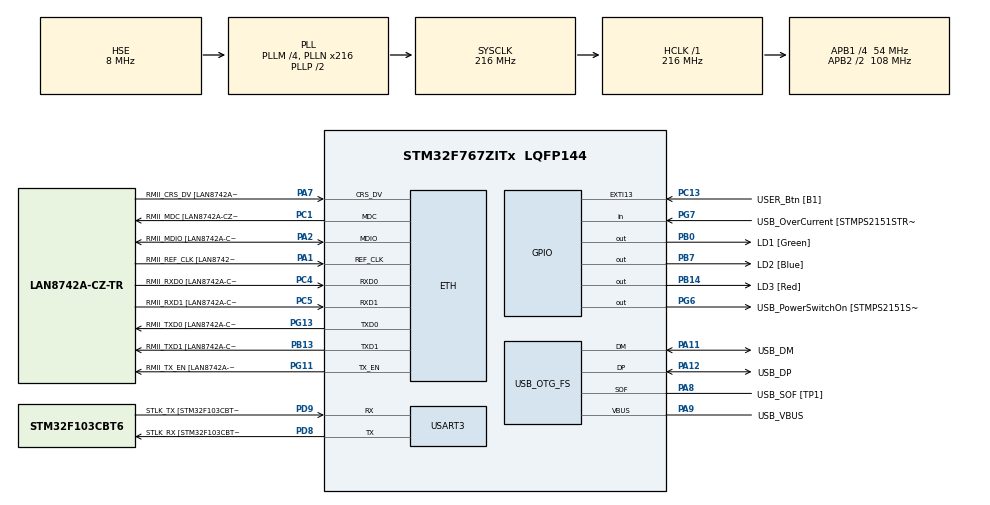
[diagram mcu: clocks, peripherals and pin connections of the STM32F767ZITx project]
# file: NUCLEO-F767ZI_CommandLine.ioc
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Dma.Request0=USART3_RX
Dma.USART3_RX.0.Direction=DMA_PERIPH_TO_MEMORY
Dma.USART3_RX.0.FIFOMode=DMA_FIFOMODE_DISABLE
Dma.USART3_RX.0.Instance=DMA1_Stream1
Dma.USART3_RX.0.MemDataAlignment=DMA_MDATAALIGN_BYTE
Dma.USART3_RX.0.MemInc=DMA_MINC_ENABLE
Dma.USART3_RX.0.Mode=DMA_CIRCULAR
Dma.USART3_RX.0.PeriphDataAlignment=DMA_PDATAALIGN_BYTE
Dma.USART3_RX.0.PeriphInc=DMA_PINC_DISABLE
Dma.USART3_RX.0.Priority=DMA_PRIORITY_LOW
ETH.MediaInterface=HAL_ETH_RMII_MODE
ETH.PHY_Name=LAN8742A_PHY_ADDRESS
ETH.PHY_Value=0
ETH.PhyAddress=0
FREERTOS.Tasks01=defaultTask,0,256,StartDefaultTask,Default,NULL,Dynamic,NULL,NULL
FREERTOS.configGENERATE_RUN_TIME_STATS=1
FREERTOS.configMINIMAL_STACK_SIZE=128
FREERTOS.configUSE_NEWLIB_REENTRANT=1
FREERTOS.configUSE_STATS_FORMATTING_FUNCTIONS=1
FREERTOS.configUSE_TRACE_FACILITY=1
Mcu.Family=STM32F7
Mcu.Name=STM32F767ZITx
Mcu.Package=LQFP144
NVIC.DMA1_Stream1_IRQn=true\:5\:0\:false\:false\:true\:true\:false\:true\:true
NVIC.PriorityGroup=NVIC_PRIORITYGROUP_4
NVIC.TIM8_TRG_COM_TIM14_IRQn=true\:15\:0\:false\:false\:true\:false\:false\:true\:true
NVIC.TimeBase=TIM8_TRG_COM_TIM14_IRQn
NVIC.TimeBaseIP=TIM14
PA1.GPIO_Label=RMII_REF_CLK [LAN8742A-CZ-TR_REFCLK0]
PA1.Mode=RMII
PA1.Signal=ETH_REF_CLK
PA10.GPIO_Label=USB_ID
PA10.Signal=USB_OTG_FS_ID
PA11.GPIO_Label=USB_DM
PA11.Mode=Device_Only
PA11.Signal=USB_OTG_FS_DM
PA12.GPIO_Label=USB_DP
PA12.Mode=Device_Only
PA12.Signal=USB_OTG_FS_DP
PA13.GPIO_Label=TMS
PA13.Mode=Serial_Wire
PA13.Signal=SYS_JTMS-SWDIO
PA14.GPIO_Label=TCK
PA14.Mode=Serial_Wire
PA14.Signal=SYS_JTCK-SWCLK
PA2.GPIO_Label=RMII_MDIO [LAN8742A-CZ-TR_MDIO]
PA2.Mode=RMII
PA2.Signal=ETH_MDIO
PA7.GPIO_Label=RMII_CRS_DV [LAN8742A-CZ-TR_CRS_DV]
PA7.Mode=RMII
PA7.Signal=ETH_CRS_DV
PA8.GPIO_Label=USB_SOF [TP1]
PA8.Mode=Activate_SOF_FS
PA8.Signal=USB_OTG_FS_SOF
PA9.GPIO_Label=USB_VBUS
PA9.Mode=Activate_VBUS
PA9.Signal=USB_OTG_FS_VBUS
PB0.GPIO_Label=LD1 [Green]
PB0.Signal=GPIO_Output
PB13.GPIO_Label=RMII_TXD1 [LAN8742A-CZ-TR_TXD1]
PB13.Mode=RMII
PB13.Signal=ETH_TXD1
PB14.GPIO_Label=LD3 [Red]
PB14.Signal=GPIO_Output
PB3.GPIO_Label=SWO
PB3.Signal=SYS_JTDO-SWO
PB7.GPIO_Label=LD2 [Blue]
PB7.Signal=GPIO_Output
PC1.GPIO_Label=RMII_MDC [LAN8742A-CZ-TR_MDC]
PC1.Mode=RMII
PC1.Signal=ETH_MDC
PC13.GPIO_Label=USER_Btn [B1]
PC13.Signal=GPXTI13
PC14/OSC32_IN.Mode=LSE-External-Oscillator
PC14/OSC32_IN.Signal=RCC_OSC32_IN
PC15/OSC32_OUT.Mode=LSE-External-Oscillator
PC15/OSC32_OUT.Signal=RCC_OSC32_OUT
PC4.GPIO_Label=RMII_RXD0 [LAN8742A-CZ-TR_RXD0]
PC4.Mode=RMII
PC4.Signal=ETH_RXD0
PC5.GPIO_Label=RMII_RXD1 [LAN8742A-CZ-TR_RXD1]
PC5.Mode=RMII
PC5.Signal=ETH_RXD1
PD8.GPIO_Label=STLK_RX [STM32F103CBT6_PA3]
PD8.Mode=Asynchronous
PD8.Signal=USART3_TX
PD9.GPIO_Label=STLK_TX [STM32F103CBT6_PA2]
PD9.Mode=Asynchronous
PD9.Signal=USART3_RX
PG11.GPIO_Label=RMII_TX_EN [LAN8742A-CZ-TR_TXEN]
PG11.Mode=RMII
PG11.Signal=ETH_TX_EN
PG13.GPIO_Label=RMII_TXD0 [LAN8742A-CZ-TR_TXD0]
PG13.Mode=RMII
PG13.Signal=ETH_TXD0
PG6.GPIO_Label=USB_PowerSwitchOn [STMPS2151STR_EN]
PG6.Signal=GPIO_Output
PG7.GPIO_Label=USB_OverCurrent [STMPS2151STR_FAULT]
PG7.Signal=GPIO_Input
PH0/OSC_IN.GPIO_Label=MCO [STM32F103CBT6_PA8]
PH0/OSC_IN.Mode=HSE-External-Clock-Source
PH0/OSC_IN.Signal=RCC_OSC_IN
PH1/OSC_OUT.Mode=HSE-External-Clock-Source
PH1/OSC_OUT.Signal=RCC_OSC_OUT
ProjectManager.HeapSize=0x800
ProjectManager.StackSize=0x800
ProjectManager.TargetToolchain=STM32CubeIDE
RCC.48MHZClocksFreq_Value=24000000
RCC.AHBFreq_Value=216000000
RCC.APB1CLKDivider=RCC_HCLK_DIV4
RCC.APB1Freq_Value=54000000
RCC.APB1TimFreq_Value=108000000
RCC.APB2CLKDivider=RCC_HCLK_DIV2
RCC.APB2Freq_Value=108000000
RCC.APB2TimFreq_Value=216000000
RCC.CortexFreq_Value=216000000
RCC.HCLKFreq_Value=216000000
RCC.HSE_VALUE=8000000
RCC.HSI_VALUE=16000000
RCC.PLLM=4
RCC.PLLMUL=RCC_PLL_MUL9
RCC.PLLN=216
RCC.PLLQ=9
RCC.PRESCALERUSB=RCC_USBCLKSOURCE_PLL_DIV1_5
RCC.SYSCLKFreq_VALUE=216000000
RCC.SYSCLKSource=RCC_SYSCLKSOURCE_PLLCLK
RCC.SYSCLKSourceVirtual=RCC_SYSCLKSOURCE_PLLCLK
RCC.USBFreq_Value=48000000
RCC.VCOOutputFreq_Value=432000000
TIM5.Prescaler=108-1
USART3.VirtualMode-Asynchronous=VM_ASYNC
USB_OTG_FS.VirtualMode=Device_Only
VP_FREERTOS_VS_CMSIS_V1.Mode=CMSIS_V1
VP_SYS_VS_tim14.Mode=TIM14
VP_TIM5_VS_ClockSourceINT.Mode=Internal
board=NUCLEO-F767ZI

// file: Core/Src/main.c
/* USER CODE BEGIN Header */
/**
  ******************************************************************************
  * @file           : main.c
  * @brief          : Main program body
  ******************************************************************************
  * @attention
  *
  * Copyright (c) 2025 STMicroelectronics.
  * All rights reserved.
  *
  * This software is licensed under terms that can be found in the LICENSE file
  * in the root directory of this software component.
  * If no LICENSE file comes with this software, it is provided AS-IS.
  *
  ******************************************************************************
  */
/* USER CODE END Header */
#include "main.h"
#include "string.h"
#include "cmsis_os.h"

/* USER CODE BEGIN Includes */
#include "command_line.h"
#include "FreeRTOSConfig.h" // getRunTimeCounterValue() and configureTimerForRunTimeStats()

/* USER CODE END Includes */

#if defined ( __ICCARM__ ) /*!< IAR Compiler */
#pragma location=0x2007c000
ETH_DMADescTypeDef  DMARxDscrTab[ETH_RX_DESC_CNT]; /* Ethernet Rx DMA Descriptors */
#pragma location=0x2007c0a0
ETH_DMADescTypeDef  DMATxDscrTab[ETH_TX_DESC_CNT]; /* Ethernet Tx DMA Descriptors */

#elif defined ( __CC_ARM )  /* MDK ARM Compiler */

__attribute__((at(0x2007c000))) ETH_DMADescTypeDef  DMARxDscrTab[ETH_RX_DESC_CNT]; /* Ethernet Rx DMA Descriptors */
__attribute__((at(0x2007c0a0))) ETH_DMADescTypeDef  DMATxDscrTab[ETH_TX_DESC_CNT]; /* Ethernet Tx DMA Descriptors */

#elif defined ( __GNUC__ ) /* GNU Compiler */

ETH_DMADescTypeDef DMARxDscrTab[ETH_RX_DESC_CNT] __attribute__((section(".RxDecripSection"))); /* Ethernet Rx DMA Descriptors */
ETH_DMADescTypeDef DMATxDscrTab[ETH_TX_DESC_CNT] __attribute__((section(".TxDecripSection")));   /* Ethernet Tx DMA Descriptors */
#endif

ETH_TxPacketConfig TxConfig;

ETH_HandleTypeDef heth;

TIM_HandleTypeDef htim5;

UART_HandleTypeDef huart3;
DMA_HandleTypeDef hdma_usart3_rx;

PCD_HandleTypeDef hpcd_USB_OTG_FS;

osThreadId defaultTaskHandle;

void SystemClock_Config(void);
static void MX_GPIO_Init(void);
static void MX_DMA_Init(void);
static void MX_USART3_UART_Init(void);
static void MX_USB_OTG_FS_PCD_Init(void);
static void MX_TIM5_Init(void);
static void MX_ETH_Init(void);
void StartDefaultTask(void const * argument);

/* USER CODE BEGIN 0 */
// DMA Buffer for usart2 RX
#define USART3_RX_DMA_BUFFER_SIZE 1030 // any size will do, but we may want to choose X-Modem receive size
uint8_t usart3_rx_dma_buffer[USART3_RX_DMA_BUFFER_SIZE];

// Implement a get_byte(void) function that utilizes a circular DMA RX buffer that:
// 1) Tests if data is available in the DMA RX buffer
// 2) Pulls and returns the data
// 3) Manages an index_out value for next removal of data
// 4) As a non-blocking function, return EOF when no bytes are available, else returns data byte
int __io_getchar(void)
{
#if 1
	// The following support STM32-F446RE for UART DMA Receive
	static uint16_t index_out = 0;
	uint16_t index_in = USART3_RX_DMA_BUFFER_SIZE - huart3.hdmarx->Instance->NDTR;
	if(index_in == index_out) return EOF;
	// Else, we have a byte in buffer to return
	uint8_t data = usart3_rx_dma_buffer[index_out];
	// advance index
	index_out++;
	// wrap index when necessary
	if(index_out >= USART3_RX_DMA_BUFFER_SIZE) index_out = 0;
	return data;

#else
	// Brain dead polling
	char ch;
	if(HAL_OK == HAL_UART_Receive(&huart3, (uint8_t *)&ch, 1, 50))
	    return ch;
	else
		return EOF;
#endif

}

// Define serial input and output functions using UART2
int __io_putchar(int ch)
{
    HAL_UART_Transmit(&huart3, (uint8_t *)&ch, 1, 10);
    return 1;
}

// vTaskGetRunTimeStats() requires the following two functions implemented
// The STM32-F767ZI has a 32-bit timer for high resolution timing
// Using TIM5 - 1us increments for xTaskGetTickCount(), to support vTaskGetRunTimeStats()
unsigned long getRunTimeCounterValue(void)
{
    return TIM5->CNT; // read TIM5, 1us hardware timer
}

// "Reset" timer
void configureTimerForRunTimeStats(void)
{
    return;
}

/* USER CODE END 0 */

int main(void)
{

  /* MCU Configuration--------------------------------------------------------*/

  /* Reset of all peripherals, Initializes the Flash interface and the Systick. */
  HAL_Init();

  /* Configure the system clock */
  SystemClock_Config();

  /* Initialize all configured peripherals */
  MX_GPIO_Init();
  MX_DMA_Init();
  MX_USART3_UART_Init();
  MX_USB_OTG_FS_PCD_Init();
  MX_TIM5_Init();
  MX_ETH_Init();
  /* USER CODE BEGIN 2 */
  //HAL_UART_Transmit(&huart3, (uint8_t*)"UART3 Init complete\n", 20, 10);
  // Enable UART3 receive into DMA buffer
  HAL_UART_Receive_DMA(&huart3, usart3_rx_dma_buffer, USART3_RX_DMA_BUFFER_SIZE);

  /* USER CODE END 2 */

  /* Create the thread(s) */
  /* definition and creation of defaultTask */
  osThreadDef(defaultTask, StartDefaultTask, osPriorityNormal, 0, 256);
  defaultTaskHandle = osThreadCreate(osThread(defaultTask), NULL);

  /* Start scheduler */
  osKernelStart();

  /* We should never get here as control is now taken by the scheduler */

  /* Infinite loop */
  while (1)
  {

  }
}

void SystemClock_Config(void)
{
  RCC_OscInitTypeDef RCC_OscInitStruct = {0};
  RCC_ClkInitTypeDef RCC_ClkInitStruct = {0};

  /** Configure LSE Drive Capability
  */
  HAL_PWR_EnableBkUpAccess();

  /** Configure the main internal regulator output voltage
  */
  __HAL_RCC_PWR_CLK_ENABLE();
  __HAL_PWR_VOLTAGESCALING_CONFIG(PWR_REGULATOR_VOLTAGE_SCALE1);

  /** Initializes the RCC Oscillators according to the specified parameters
  * in the RCC_OscInitTypeDef structure.
  */
  RCC_OscInitStruct.OscillatorType = RCC_OSCILLATORTYPE_HSE;
  RCC_OscInitStruct.HSEState = RCC_HSE_BYPASS;
  RCC_OscInitStruct.PLL.PLLState = RCC_PLL_ON;
  RCC_OscInitStruct.PLL.PLLSource = RCC_PLLSOURCE_HSE;
  RCC_OscInitStruct.PLL.PLLM = 4;
  RCC_OscInitStruct.PLL.PLLN = 216;
  RCC_OscInitStruct.PLL.PLLP = RCC_PLLP_DIV2;
  RCC_OscInitStruct.PLL.PLLQ = 9;
  RCC_OscInitStruct.PLL.PLLR = 2;
  if (HAL_RCC_OscConfig(&RCC_OscInitStruct) != HAL_OK)
  {
    Error_Handler();
  }

  /** Activate the Over-Drive mode
  */
  if (HAL_PWREx_EnableOverDrive() != HAL_OK)
  {
    Error_Handler();
  }

  /** Initializes the CPU, AHB and APB buses clocks
  */
  RCC_ClkInitStruct.ClockType = RCC_CLOCKTYPE_HCLK|RCC_CLOCKTYPE_SYSCLK
                              |RCC_CLOCKTYPE_PCLK1|RCC_CLOCKTYPE_PCLK2;
  RCC_ClkInitStruct.SYSCLKSource = RCC_SYSCLKSOURCE_PLLCLK;
  RCC_ClkInitStruct.AHBCLKDivider = RCC_SYSCLK_DIV1;
  RCC_ClkInitStruct.APB1CLKDivider = RCC_HCLK_DIV4;
  RCC_ClkInitStruct.APB2CLKDivider = RCC_HCLK_DIV2;

  if (HAL_RCC_ClockConfig(&RCC_ClkInitStruct, FLASH_LATENCY_7) != HAL_OK)
  {
    Error_Handler();
  }
}

static void MX_ETH_Init(void)
{

   static uint8_t MACAddr[6];

  heth.Instance = ETH;
  MACAddr[0] = 0x00;
  MACAddr[1] = 0x80;
  MACAddr[2] = 0xE1;
  MACAddr[3] = 0x00;
  MACAddr[4] = 0x00;
  MACAddr[5] = 0x00;
  heth.Init.MACAddr = &MACAddr[0];
  heth.Init.MediaInterface = HAL_ETH_RMII_MODE;
  heth.Init.TxDesc = DMATxDscrTab;
  heth.Init.RxDesc = DMARxDscrTab;
  heth.Init.RxBuffLen = 1524;

  if (HAL_ETH_Init(&heth) != HAL_OK)
  {
    Error_Handler();
  }

  memset(&TxConfig, 0 , sizeof(ETH_TxPacketConfig));
  TxConfig.Attributes = ETH_TX_PACKETS_FEATURES_CSUM | ETH_TX_PACKETS_FEATURES_CRCPAD;
  TxConfig.ChecksumCtrl = ETH_CHECKSUM_IPHDR_PAYLOAD_INSERT_PHDR_CALC;
  TxConfig.CRCPadCtrl = ETH_CRC_PAD_INSERT;

}

static void MX_TIM5_Init(void)
{

  TIM_ClockConfigTypeDef sClockSourceConfig = {0};
  TIM_MasterConfigTypeDef sMasterConfig = {0};

  htim5.Instance = TIM5;
  htim5.Init.Prescaler = 108-1;
  htim5.Init.CounterMode = TIM_COUNTERMODE_UP;
  htim5.Init.Period = 4294967295;
  htim5.Init.ClockDivision = TIM_CLOCKDIVISION_DIV1;
  htim5.Init.AutoReloadPreload = TIM_AUTORELOAD_PRELOAD_DISABLE;
  if (HAL_TIM_Base_Init(&htim5) != HAL_OK)
  {
    Error_Handler();
  }
  sClockSourceConfig.ClockSource = TIM_CLOCKSOURCE_INTERNAL;
  if (HAL_TIM_ConfigClockSource(&htim5, &sClockSourceConfig) != HAL_OK)
  {
    Error_Handler();
  }
  sMasterConfig.MasterOutputTrigger = TIM_TRGO_RESET;
  sMasterConfig.MasterSlaveMode = TIM_MASTERSLAVEMODE_DISABLE;
  if (HAL_TIMEx_MasterConfigSynchronization(&htim5, &sMasterConfig) != HAL_OK)
  {
    Error_Handler();
  }
  /* USER CODE BEGIN TIM5_Init 2 */
  HAL_TIM_Base_Start(&htim5);  // Start timer running
  /* USER CODE END TIM5_Init 2 */

}

static void MX_USART3_UART_Init(void)
{

  huart3.Instance = USART3;
  huart3.Init.BaudRate = 115200;
  huart3.Init.WordLength = UART_WORDLENGTH_8B;
  huart3.Init.StopBits = UART_STOPBITS_1;
  huart3.Init.Parity = UART_PARITY_NONE;
  huart3.Init.Mode = UART_MODE_TX_RX;
  huart3.Init.HwFlowCtl = UART_HWCONTROL_NONE;
  huart3.Init.OverSampling = UART_OVERSAMPLING_16;
  huart3.Init.OneBitSampling = UART_ONE_BIT_SAMPLE_DISABLE;
  huart3.AdvancedInit.AdvFeatureInit = UART_ADVFEATURE_NO_INIT;
  if (HAL_UART_Init(&huart3) != HAL_OK)
  {
    Error_Handler();
  }

}

static void MX_USB_OTG_FS_PCD_Init(void)
{

  hpcd_USB_OTG_FS.Instance = USB_OTG_FS;
  hpcd_USB_OTG_FS.Init.dev_endpoints = 6;
  hpcd_USB_OTG_FS.Init.speed = PCD_SPEED_FULL;
  hpcd_USB_OTG_FS.Init.dma_enable = DISABLE;
  hpcd_USB_OTG_FS.Init.phy_itface = PCD_PHY_EMBEDDED;
  hpcd_USB_OTG_FS.Init.Sof_enable = ENABLE;
  hpcd_USB_OTG_FS.Init.low_power_enable = DISABLE;
  hpcd_USB_OTG_FS.Init.lpm_enable = DISABLE;
  hpcd_USB_OTG_FS.Init.vbus_sensing_enable = ENABLE;
  hpcd_USB_OTG_FS.Init.use_dedicated_ep1 = DISABLE;
  if (HAL_PCD_Init(&hpcd_USB_OTG_FS) != HAL_OK)
  {
    Error_Handler();
  }

}

static void MX_DMA_Init(void)
{

  /* DMA controller clock enable */
  __HAL_RCC_DMA1_CLK_ENABLE();

  /* DMA interrupt init */
  /* DMA1_Stream1_IRQn interrupt configuration */
  HAL_NVIC_SetPriority(DMA1_Stream1_IRQn, 5, 0);
  HAL_NVIC_EnableIRQ(DMA1_Stream1_IRQn);

}

static void MX_GPIO_Init(void)
{
  GPIO_InitTypeDef GPIO_InitStruct = {0};

  /* GPIO Ports Clock Enable */
  __HAL_RCC_GPIOC_CLK_ENABLE();
  __HAL_RCC_GPIOH_CLK_ENABLE();
  __HAL_RCC_GPIOA_CLK_ENABLE();
  __HAL_RCC_GPIOB_CLK_ENABLE();
  __HAL_RCC_GPIOD_CLK_ENABLE();
  __HAL_RCC_GPIOG_CLK_ENABLE();

  /*Configure GPIO pin Output Level */
  HAL_GPIO_WritePin(GPIOB, LD1_Pin|LD3_Pin|LD2_Pin, GPIO_PIN_RESET);

  /*Configure GPIO pin Output Level */
  HAL_GPIO_WritePin(USB_PowerSwitchOn_GPIO_Port, USB_PowerSwitchOn_Pin, GPIO_PIN_RESET);

  /*Configure GPIO pin : USER_Btn_Pin */
  GPIO_InitStruct.Pin = USER_Btn_Pin;
  GPIO_InitStruct.Mode = GPIO_MODE_IT_RISING;
  GPIO_InitStruct.Pull = GPIO_NOPULL;
  HAL_GPIO_Init(USER_Btn_GPIO_Port, &GPIO_InitStruct);

  /*Configure GPIO pins : LD1_Pin LD3_Pin LD2_Pin */
  GPIO_InitStruct.Pin = LD1_Pin|LD3_Pin|LD2_Pin;
  GPIO_InitStruct.Mode = GPIO_MODE_OUTPUT_PP;
  GPIO_InitStruct.Pull = GPIO_NOPULL;
  GPIO_InitStruct.Speed = GPIO_SPEED_FREQ_LOW;
  HAL_GPIO_Init(GPIOB, &GPIO_InitStruct);

  /*Configure GPIO pin : USB_PowerSwitchOn_Pin */
  GPIO_InitStruct.Pin = USB_PowerSwitchOn_Pin;
  GPIO_InitStruct.Mode = GPIO_MODE_OUTPUT_PP;
  GPIO_InitStruct.Pull = GPIO_NOPULL;
  GPIO_InitStruct.Speed = GPIO_SPEED_FREQ_LOW;
  HAL_GPIO_Init(USB_PowerSwitchOn_GPIO_Port, &GPIO_InitStruct);

  /*Configure GPIO pin : USB_OverCurrent_Pin */
  GPIO_InitStruct.Pin = USB_OverCurrent_Pin;
  GPIO_InitStruct.Mode = GPIO_MODE_INPUT;
  GPIO_InitStruct.Pull = GPIO_NOPULL;
  HAL_GPIO_Init(USB_OverCurrent_GPIO_Port, &GPIO_InitStruct);

}

void StartDefaultTask(void const * argument)
{
  /* USER CODE BEGIN 5 */
  //char test[200] = {"This is a test\n"};
  //HAL_UART_Transmit(&huart3, (uint8_t*)test, strlen(test), 10);

  // Init Command Line
  cl_setup();

  /* Infinite loop */
  for(;;)
  {
	cl_loop();
    osDelay(1);
  }
  /* USER CODE END 5 */
}

void HAL_TIM_PeriodElapsedCallback(TIM_HandleTypeDef *htim)
{
  if (htim->Instance == TIM14) {
    HAL_IncTick();
  }
}

void Error_Handler(void)
{
  __disable_irq();
  while (1)
  {
  }
}
